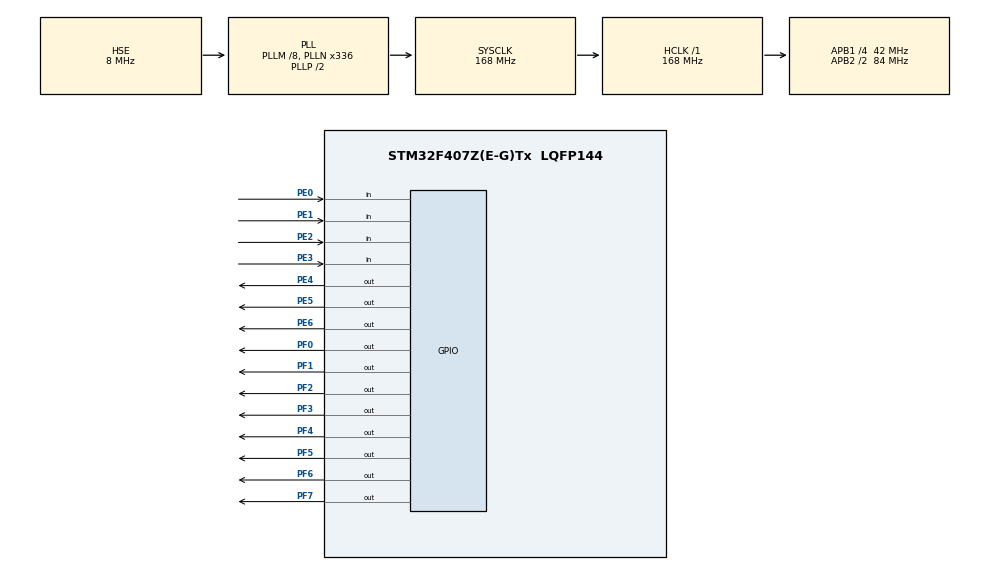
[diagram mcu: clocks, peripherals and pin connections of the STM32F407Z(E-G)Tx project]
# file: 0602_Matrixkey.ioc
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Mcu.Family=STM32F4
Mcu.Name=STM32F407Z(E-G)Tx
Mcu.Package=LQFP144
NVIC.PriorityGroup=NVIC_PRIORITYGROUP_4
PA13.Mode=Serial_Wire
PA13.Signal=SYS_JTMS-SWDIO
PA14.Mode=Serial_Wire
PA14.Signal=SYS_JTCK-SWCLK
PE0.GPIO_PuPd=GPIO_PULLUP
PE0.Signal=GPIO_Input
PE1.GPIO_PuPd=GPIO_PULLUP
PE1.Signal=GPIO_Input
PE2.GPIO_PuPd=GPIO_PULLUP
PE2.Signal=GPIO_Input
PE3.GPIO_PuPd=GPIO_PULLUP
PE3.Signal=GPIO_Input
PE4.GPIO_ModeDefaultOutputPP=GPIO_MODE_OUTPUT_PP
PE4.GPIO_PuPd=GPIO_NOPULL
PE4.Signal=GPIO_Output
PE5.GPIO_ModeDefaultOutputPP=GPIO_MODE_OUTPUT_PP
PE5.GPIO_PuPd=GPIO_NOPULL
PE5.Signal=GPIO_Output
PE6.GPIO_ModeDefaultOutputPP=GPIO_MODE_OUTPUT_PP
PE6.GPIO_PuPd=GPIO_NOPULL
PE6.Signal=GPIO_Output
PF0.GPIO_ModeDefaultOutputPP=GPIO_MODE_OUTPUT_PP
PF0.GPIO_PuPd=GPIO_NOPULL
PF0.Signal=GPIO_Output
PF1.GPIO_ModeDefaultOutputPP=GPIO_MODE_OUTPUT_PP
PF1.GPIO_PuPd=GPIO_NOPULL
PF1.Signal=GPIO_Output
PF2.GPIO_ModeDefaultOutputPP=GPIO_MODE_OUTPUT_PP
PF2.GPIO_PuPd=GPIO_NOPULL
PF2.Signal=GPIO_Output
PF3.GPIO_ModeDefaultOutputPP=GPIO_MODE_OUTPUT_PP
PF3.GPIO_PuPd=GPIO_NOPULL
PF3.Signal=GPIO_Output
PF4.GPIO_ModeDefaultOutputPP=GPIO_MODE_OUTPUT_PP
PF4.GPIO_PuPd=GPIO_NOPULL
PF4.Signal=GPIO_Output
PF5.GPIO_ModeDefaultOutputPP=GPIO_MODE_OUTPUT_PP
PF5.GPIO_PuPd=GPIO_NOPULL
PF5.Signal=GPIO_Output
PF6.GPIO_ModeDefaultOutputPP=GPIO_MODE_OUTPUT_PP
PF6.GPIO_PuPd=GPIO_NOPULL
PF6.Signal=GPIO_Output
PF7.GPIO_ModeDefaultOutputPP=GPIO_MODE_OUTPUT_PP
PF7.GPIO_PuPd=GPIO_NOPULL
PF7.Signal=GPIO_Output
PH0-OSC_IN.Mode=HSE-External-Oscillator
PH0-OSC_IN.Signal=RCC_OSC_IN
PH1-OSC_OUT.Mode=HSE-External-Oscillator
PH1-OSC_OUT.Signal=RCC_OSC_OUT
ProjectManager.HeapSize=0x200
ProjectManager.StackSize=0x400
ProjectManager.TargetToolchain=MDK-ARM V5.32
RCC.48MHZClocksFreq_Value=84000000
RCC.AHBFreq_Value=168000000
RCC.APB1CLKDivider=RCC_HCLK_DIV4
RCC.APB1Freq_Value=42000000
RCC.APB1TimFreq_Value=84000000
RCC.APB2CLKDivider=RCC_HCLK_DIV2
RCC.APB2Freq_Value=84000000
RCC.APB2TimFreq_Value=168000000
RCC.CortexFreq_Value=168000000
RCC.HCLKFreq_Value=168000000
RCC.HSE_VALUE=8000000
RCC.HSI_VALUE=16000000
RCC.LSE_VALUE=32768
RCC.PLLM=8
RCC.PLLN=336
RCC.PLLSourceVirtual=RCC_PLLSOURCE_HSE
RCC.SYSCLKFreq_VALUE=168000000
RCC.SYSCLKSource=RCC_SYSCLKSOURCE_PLLCLK
RCC.VCOOutputFreq_Value=336000000
board=custom

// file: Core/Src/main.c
#include "main.h"

/* USER CODE BEGIN PV */
uint16_t i;
uint8_t KeyVal = 0;
uint8_t PreLine[3] = {2,0,1};
/* USER CODE END PV */

void SystemClock_Config(void);
static void MX_GPIO_Init(void);

int main(void)
{

  /* MCU Configuration--------------------------------------------------------*/

  /* Reset of all peripherals, Initializes the Flash interface and the Systick. */
  HAL_Init();

  /* Configure the system clock */
  SystemClock_Config();

  /* Initialize all configured peripherals */
  MX_GPIO_Init();

  /* Infinite loop */
  /* USER CODE BEGIN WHILE */
  while (1)
  {
    for(i = 0; i < 3; i++)
    {
      GPIOE->ODR = ~(1 << (i + 4));
      if((GPIOE->IDR & 0x0F) != 0x0F)
      {
        HAL_Delay(16);
        if((GPIOE->IDR & 0x0F) != 0x0F)
        {
          switch(GPIOE->IDR & 0x0F)
          {
            case 0x0E: KeyVal = 4 * PreLine[i] + 1; break;
            case 0x0D: KeyVal = 4 * PreLine[i] + 2; break;
            case 0x0B: KeyVal = 4 * PreLine[i] + 3; break;
            case 0x07: KeyVal = 4 * PreLine[i] + 4; break;
            default: break;
          }
          GPIOF->ODR = ~( (KeyVal/10 << 4) + KeyVal%10 );
          while((GPIOE->IDR & 0x0F) != 0x0F);
        }
      }
    }
  }
  /* USER CODE END WHILE */

}

void SystemClock_Config(void)
{
  RCC_OscInitTypeDef RCC_OscInitStruct = {0};
  RCC_ClkInitTypeDef RCC_ClkInitStruct = {0};

  /** Configure the main internal regulator output voltage
  */
  __HAL_RCC_PWR_CLK_ENABLE();
  __HAL_PWR_VOLTAGESCALING_CONFIG(PWR_REGULATOR_VOLTAGE_SCALE1);

  /** Initializes the RCC Oscillators according to the specified parameters
  * in the RCC_OscInitTypeDef structure.
  */
  RCC_OscInitStruct.OscillatorType = RCC_OSCILLATORTYPE_HSE;
  RCC_OscInitStruct.HSEState = RCC_HSE_ON;
  RCC_OscInitStruct.PLL.PLLState = RCC_PLL_ON;
  RCC_OscInitStruct.PLL.PLLSource = RCC_PLLSOURCE_HSE;
  RCC_OscInitStruct.PLL.PLLM = 8;
  RCC_OscInitStruct.PLL.PLLN = 336;
  RCC_OscInitStruct.PLL.PLLP = RCC_PLLP_DIV2;
  RCC_OscInitStruct.PLL.PLLQ = 7;
  if (HAL_RCC_OscConfig(&RCC_OscInitStruct) != HAL_OK)
  {
    Error_Handler();
  }

  /** Initializes the CPU, AHB and APB buses clocks
  */
  RCC_ClkInitStruct.ClockType = RCC_CLOCKTYPE_HCLK|RCC_CLOCKTYPE_SYSCLK
                              |RCC_CLOCKTYPE_PCLK1|RCC_CLOCKTYPE_PCLK2;
  RCC_ClkInitStruct.SYSCLKSource = RCC_SYSCLKSOURCE_PLLCLK;
  RCC_ClkInitStruct.AHBCLKDivider = RCC_SYSCLK_DIV1;
  RCC_ClkInitStruct.APB1CLKDivider = RCC_HCLK_DIV4;
  RCC_ClkInitStruct.APB2CLKDivider = RCC_HCLK_DIV2;

  if (HAL_RCC_ClockConfig(&RCC_ClkInitStruct, FLASH_LATENCY_5) != HAL_OK)
  {
    Error_Handler();
  }
}

static void MX_GPIO_Init(void)
{
  GPIO_InitTypeDef GPIO_InitStruct = {0};

  /* GPIO Ports Clock Enable */
  __HAL_RCC_GPIOC_CLK_ENABLE();
  __HAL_RCC_GPIOH_CLK_ENABLE();
  __HAL_RCC_GPIOE_CLK_ENABLE();
  __HAL_RCC_GPIOF_CLK_ENABLE();

  /*Configure GPIO pin Output Level */
  HAL_GPIO_WritePin(GPIOE, GPIO_PIN_4|GPIO_PIN_5|GPIO_PIN_6, GPIO_PIN_SET);

  /*Configure GPIO pin Output Level */
  HAL_GPIO_WritePin(GPIOF, GPIO_PIN_0|GPIO_PIN_1|GPIO_PIN_2|GPIO_PIN_3
                          |GPIO_PIN_4|GPIO_PIN_5|GPIO_PIN_6|GPIO_PIN_7, GPIO_PIN_SET);

  /*Configure GPIO pins : PE0 PE1 PE2 PE3 */
  GPIO_InitStruct.Pin = GPIO_PIN_0|GPIO_PIN_1|GPIO_PIN_2|GPIO_PIN_3;
  GPIO_InitStruct.Mode = GPIO_MODE_INPUT;
  GPIO_InitStruct.Pull = GPIO_PULLUP;
  HAL_GPIO_Init(GPIOE, &GPIO_InitStruct);

  /*Configure GPIO pins : PE4 PE5 PE6 */
  GPIO_InitStruct.Pin = GPIO_PIN_4|GPIO_PIN_5|GPIO_PIN_6;
  GPIO_InitStruct.Mode = GPIO_MODE_OUTPUT_PP;
  GPIO_InitStruct.Pull = GPIO_NOPULL;
  GPIO_InitStruct.Speed = GPIO_SPEED_FREQ_LOW;
  HAL_GPIO_Init(GPIOE, &GPIO_InitStruct);

  /*Configure GPIO pins : PF0 PF1 PF2 PF3 PF4 PF5 PF6 PF7 */
  GPIO_InitStruct.Pin = GPIO_PIN_0|GPIO_PIN_1|GPIO_PIN_2|GPIO_PIN_3
                          |GPIO_PIN_4|GPIO_PIN_5|GPIO_PIN_6|GPIO_PIN_7;
  GPIO_InitStruct.Mode = GPIO_MODE_OUTPUT_PP;
  GPIO_InitStruct.Pull = GPIO_NOPULL;
  GPIO_InitStruct.Speed = GPIO_SPEED_FREQ_LOW;
  HAL_GPIO_Init(GPIOF, &GPIO_InitStruct);
}

void Error_Handler(void)
{
  __disable_irq();
  while (1)
  {
  }
}
